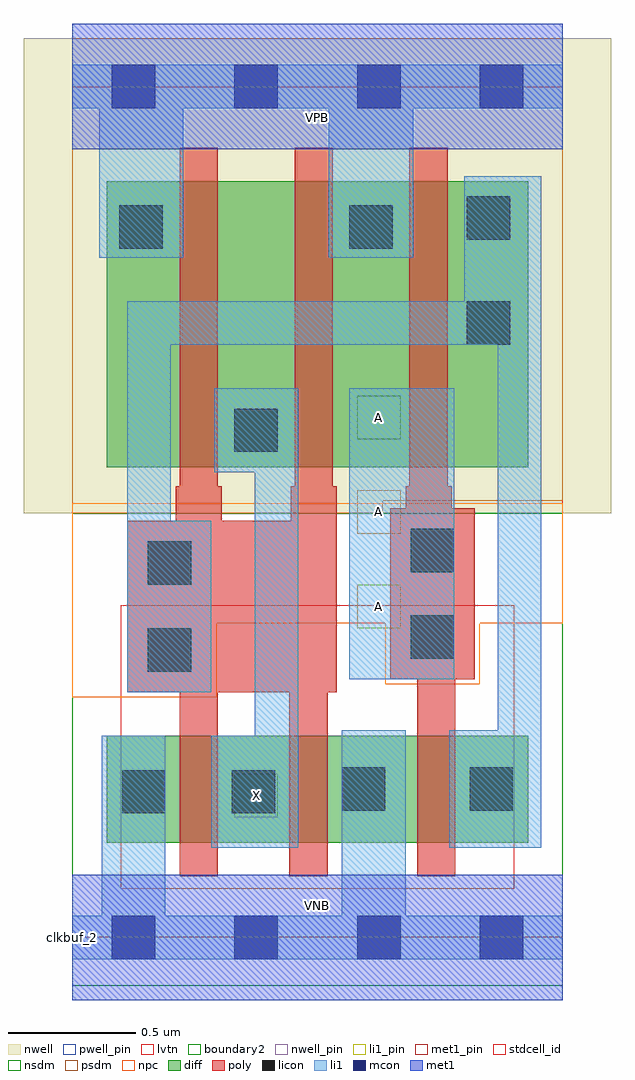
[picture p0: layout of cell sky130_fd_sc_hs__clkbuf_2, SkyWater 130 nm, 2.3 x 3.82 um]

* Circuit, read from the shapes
.subckt sky130_fd_sc_hs__clkbuf_2 A VGND VNB VPB VPWR X
XM1 X n1 VGND VNB sky130_fd_pr__nfet_01v8_lvt w=0.42 l=0.15 m=2
XM2 n1 A VGND VNB sky130_fd_pr__nfet_01v8_lvt w=0.42 l=0.15
XM3 X n1 VPWR VPB sky130_fd_pr__pfet_01v8 w=1.12 l=0.15 m=2
XM4 n1 A VPWR VPB sky130_fd_pr__pfet_01v8 w=1.12 l=0.15
.ends

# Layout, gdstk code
import gdstk
lib = gdstk.Library(unit=1e-6, precision=1e-09)
def R(c, l, rs):  # rectangles x0, y0, x1, y1
    for r in rs: c.add(gdstk.rectangle(r[:2], r[2:], *l))
def A(c, l, x, y, w, h, nx, ny, dx, dy):  # array of equal rectangles
    R(c, l, [(x+i*dx, y+j*dy, x+i*dx+w, y+j*dy+h) for i in range(nx) for j in range(ny)])
def P(c, l, *ps):  # polygons
    for p in ps: c.add(gdstk.Polygon(p, *l))
nwell_pin = (64, 16)
nwell = (64, 20)
diff = (65, 20)
poly = (66, 20)
licon = (66, 44)
li1_pin = (67, 16)
li1 = (67, 20)
mcon = (67, 44)
met1_pin = (68, 16)
met1 = (68, 20)
stdcell_id = (81, 4)
nsdm = (93, 44)
psdm = (94, 20)
npc = (95, 20)
pwell_pin = (122, 16)
lvtn = (125, 44)
boundary2 = (236, 0)

sky130_fd_sc_hs__clkbuf_ = lib.new_cell('sky130_fd_sc_hs__clkbuf_2')
R(sky130_fd_sc_hs__clkbuf_, nwell_pin, [(0,3.085,1.92,3.33)])
R(sky130_fd_sc_hs__clkbuf_, nwell, [(-0.19,1.66,2.11,3.52)])
R(sky130_fd_sc_hs__clkbuf_, diff, [(0.135,0.37,1.785,0.79), (0.135,1.84,1.785,2.96)])
P(sky130_fd_sc_hs__clkbuf_, poly, [(1.575,1.68),(1.485,1.68),(1.485,1.765),(1.47,1.765),(1.47,3.09),(1.32,3.09),(1.32,1.765),(1.305,1.765),(1.305,1.68),(1.245,1.68),(1.245,1.01),(1.35,1.01),(1.35,0.24),(1.5,0.24),(1.5,1.01),(1.575,1.01)],
  [(1.035,1.765),(1.02,1.765),(1.02,3.09),(0.87,3.09),(0.87,1.765),(0.855,1.765),(0.855,1.63),(0.585,1.63),(0.585,1.765),(0.57,1.765),(0.57,3.09),(0.42,3.09),(0.42,1.765),(0.405,1.765),(0.405,1.63),(0.215,1.63),(0.215,0.96),(0.42,0.96),(0.42,0.24),(0.57,0.24),(0.57,0.96),(0.85,0.96),(0.85,0.24),(1,0.24),(1,0.96),(1.035,0.96)])
R(sky130_fd_sc_hs__clkbuf_, licon, [(0.195,0.485,0.365,0.655), (0.625,0.485,0.795,0.655), (1.055,0.495,1.225,0.665), (1.555,0.495,1.725,0.665), (0.295,1.04,0.465,1.21), (1.325,1.09,1.495,1.26), (0.295,1.38,0.465,1.55), (1.325,1.43,1.495,1.6), (0.635,1.9,0.805,2.07), (1.545,2.32,1.715,2.49), (0.185,2.695,0.355,2.865), (1.085,2.695,1.255,2.865), (1.545,2.73,1.715,2.9)])
A(sky130_fd_sc_hs__clkbuf_, li1_pin, 1.115, 1.21, 0.17, 0.17, 1, 3, 0, 0.37)
R(sky130_fd_sc_hs__clkbuf_, li1_pin, [(0.635,0.47,0.805,0.64)])
R(sky130_fd_sc_hs__clkbuf_, li1, [(1.085,1.01,1.495,2.15)])
P(sky130_fd_sc_hs__clkbuf_, li1, [(0,-0.085),(0,0.085),(0.115,0.085),(0.115,0.79),(0.365,0.79),(0.365,0.085),(1.055,0.085),(1.055,0.81),(1.305,0.81),(1.305,0.085),(1.92,0.085),(1.92,-0.085)],
  [(0,3.245),(0,3.415),(1.92,3.415),(1.92,3.245),(1.335,3.245),(1.335,2.66),(1.005,2.66),(1.005,3.245),(0.435,3.245),(0.435,2.66),(0.105,2.66),(0.105,3.245)],
  [(0.545,0.35),(0.545,0.79),(0.715,0.79),(0.715,1.82),(0.555,1.82),(0.555,2.15),(0.885,2.15),(0.885,0.35)],
  [(1.665,0.81),(1.665,2.32),(0.385,2.32),(0.385,1.63),(0.545,1.63),(0.545,0.96),(0.215,0.96),(0.215,2.49),(1.535,2.49),(1.535,2.98),(1.835,2.98),(1.835,0.35),(1.475,0.35),(1.475,0.81)])
A(sky130_fd_sc_hs__clkbuf_, mcon, 0.155, -0.085, 0.17, 0.17, 4, 2, 0.48, 3.33)
R(sky130_fd_sc_hs__clkbuf_, met1_pin, [(0,0,1.92,0.245), (0,3.085,1.92,3.33)])
R(sky130_fd_sc_hs__clkbuf_, met1, [(0,-0.245,1.92,0.245), (0,3.085,1.92,3.575)])
R(sky130_fd_sc_hs__clkbuf_, stdcell_id, [(0,0,1.92,3.33)])
R(sky130_fd_sc_hs__clkbuf_, nsdm, [(0,-0.19,1.92,1.66)])
P(sky130_fd_sc_hs__clkbuf_, psdm, [(1.92,3.52),(0,3.52),(0,1.66),(1.215,1.66),(1.215,1.71),(1.92,1.71)])
P(sky130_fd_sc_hs__clkbuf_, npc, [(1.92,1.7),(0,1.7),(0,0.94),(0.565,0.94),(0.565,1.23),(1.225,1.23),(1.225,0.99),(1.595,0.99),(1.595,1.23),(1.92,1.23)])
R(sky130_fd_sc_hs__clkbuf_, pwell_pin, [(0,0,1.92,0.245)])
R(sky130_fd_sc_hs__clkbuf_, lvtn, [(0.19,0.19,1.73,1.3)])
R(sky130_fd_sc_hs__clkbuf_, boundary2, [(0,0,1.92,3.33)])
sky130_fd_sc_hs__clkbuf_.add(gdstk.Label('clkbuf_2', (0,0), layer=83, texttype=44))
sky130_fd_sc_hs__clkbuf_.add(gdstk.Label('VNB', (0.96,0.123), layer=64, texttype=59))
sky130_fd_sc_hs__clkbuf_.add(gdstk.Label('VPB', (0.96,3.208), layer=64, texttype=5))
sky130_fd_sc_hs__clkbuf_.add(gdstk.Label('VPWR', (0.96,3.208), layer=68, texttype=5))
sky130_fd_sc_hs__clkbuf_.add(gdstk.Label('VGND', (0.96,0.123), layer=68, texttype=5))
sky130_fd_sc_hs__clkbuf_.add(gdstk.Label('X', (0.72,0.555), layer=67, texttype=5))
sky130_fd_sc_hs__clkbuf_.add(gdstk.Label('A', (1.2,1.295), layer=67, texttype=5))
sky130_fd_sc_hs__clkbuf_.add(gdstk.Label('A', (1.2,1.665), layer=67, texttype=5))
sky130_fd_sc_hs__clkbuf_.add(gdstk.Label('A', (1.2,2.035), layer=67, texttype=5))

lib.write_gds('sky130_fd_sc_hs__clkbuf_2.gds')
